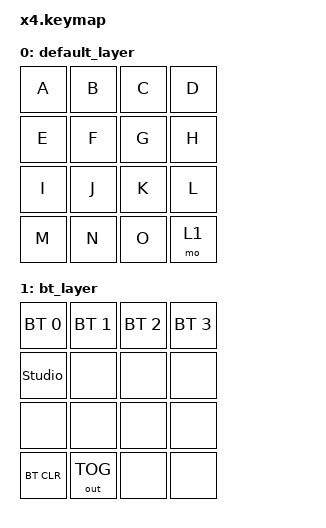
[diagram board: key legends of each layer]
// This file was generated from a template. Edit it to match your keyboard.
// See https://zmk.dev/docs/development/hardware-integration/new-shield for more instructions.

#include <behaviors.dtsi>
#include <dt-bindings/zmk/keys.h>
#include <dt-bindings/zmk/bt.h>
#include <dt-bindings/zmk/outputs.h>

/ {
    // Define a default keymap here.
    // See https://zmk.dev/docs/development/hardware-integration/new-shield#default-keymap.
    keymap {
        compatible = "zmk,keymap";

        default_layer {
            bindings = <
                &kp A &kp B  &kp C &kp D
                &kp E &kp F  &kp G &kp H
                &kp I &kp J  &kp K &kp L
                &kp M &kp N  &kp O &mo 1
            >;
        };

        bt_layer {
            bindings = <
                &bt BT_SEL 0 &bt BT_SEL 1 &bt BT_SEL 2 &bt BT_SEL 3
                &studio_unlock &none        &none        &none
                &none        &none        &none        &none
                &bt BT_CLR   &out OUT_TOG &none        &none
            >;
        };
    };
};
